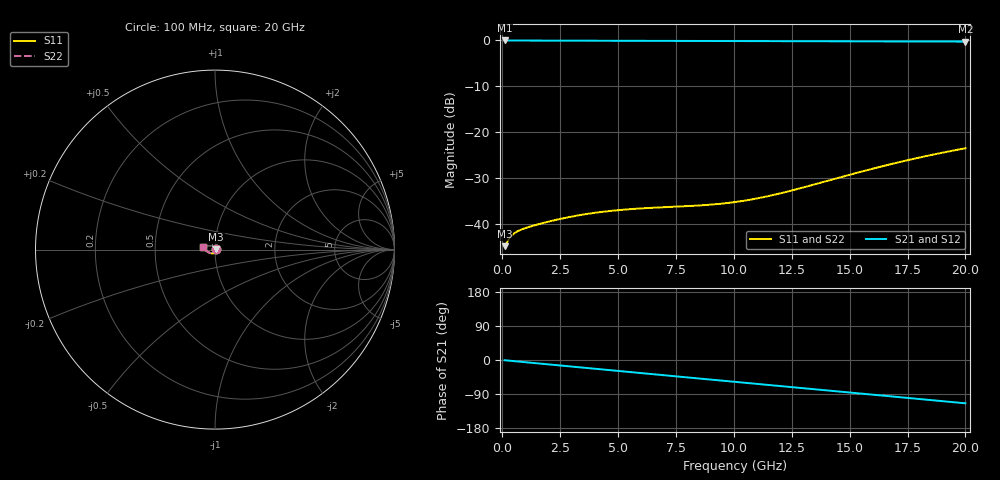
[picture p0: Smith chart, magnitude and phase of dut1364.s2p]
! Touchstone file exported from HFSS 2026.1.0
!  File:  C:/ffzhzh/LocalFiles/Ansys_Project_Files/temp_train_TSV_RDL_1364_1783344131_37376.aedt
!  Generated:  09:33:47 PM Jul  6, 2026
!  Design:  TSV_RDL
!  Project:  temp_train_TSV_RDL_1364_1783344131_37376
! Variables:
!  h_bsmrdl = 3.8um
!  h_ox = 20um
!  h_rdl = 5um
!  h_sub = 98.25um
!  h_tmrdl = 3.06um
!  h_tsv = 98.25um
!  h_via = 3um
!  l_bsmrdl = 155.19um
!  l_sub = 1534.3um
!  l_tmrdl = 129.51um
!  m_sub = 200um
!  pitch = 36.4um
!  r_tsv = 12.69um
!  s_tmrdl = 10um
!  w_bsmrdl = 27.26um
!  w_sub = 500um
!  w_tmrdl = 22.97um
!  x_tsv_center1 = 140.995um
!  x_tsv_center2 = 323.445um
!  x_tsv_center3 = 475.925um
!  x_tsv_center4 = 658.375um
!  x_tsv_center5 = 810.855um
!  x_tsv_center6 = 993.305um
# GHz S MA R 50.000000
! Terminal data exported
! Port[1] = TM_RDL1_1_T1
! Port[2] = TM_RDL5_1_T1
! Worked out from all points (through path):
!   200 points, 100 MHz to 20 GHz, reference 50 ohm
!   highest |S21| = -0.05 dB at 100 MHz (marker M1); lowest = -0.3 dB at 20 GHz (marker M2)
!   group delay of S21, straight-line fit = 15.8 ps
!   lowest |S11| = -44.7 dB at 100 MHz (marker M3), VSWR 1.01, Z = 50.6 + j0.0903 ohm
!   |S11| at or under -10 dB: start of sweep to end of sweep
!   |S22| runs from -44.7 to -23.5 dB; largest |S21 - S12| = 5.5e-14
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0.1  0.005807 8.8  0.9943 -0.6  0.9943 -0.6  0.005807 8.8
! Gamma 0 0 0 0
! Port Impedance 50 0 50 0
0.3  0.007021 16.1  0.9933 -1.8  0.9933 -1.8  0.007021 16.1
0.4  0.007541 16.5  0.9929 -2.4  0.9929 -2.4  0.007541 16.5
0.6  0.008267 16.0  0.9923 -3.6  0.9923 -3.6  0.008267 16.0
0.8  0.008751 15.4  0.9919 -4.7  0.9919 -4.7  0.008751 15.4
1.3  0.009631 14.6  0.9911 -7.6  0.9911 -7.6  0.009631 14.6
2  0.01073 13.2  0.9902 -11.6  0.9902 -11.6  0.01073 13.2
2.7  0.01176 10.5  0.9893 -15.7  0.9893 -15.7  0.01176 10.5
3.5  0.0128 5.9  0.9882 -20.3  0.9882 -20.3  0.01281 5.9
5  0.01428 -6.1  0.9861 -28.9  0.9861 -28.9  0.01429 -6.1
6.8  0.0153 -25.8  0.9837 -39.2  0.9837 -39.2  0.01531 -25.7
7.8  0.01571 -39.2  0.9823 -44.9  0.9823 -44.9  0.01572 -39.2
8.8  0.01625 -54.5  0.981 -50.6  0.981 -50.6  0.01626 -54.4
10.1  0.01756 -76.2  0.9793 -58.0  0.9793 -58.0  0.01758 -76.1
10.8  0.01874 -88.2  0.9785 -61.9  0.9785 -61.9  0.01876 -88.1
11.6  0.02059 -101.6  0.9775 -66.5  0.9775 -66.5  0.0206 -101.5
12.5  0.02336 -115.8  0.9763 -71.6  0.9763 -71.6  0.02337 -115.7
13.4  0.02684 -128.7  0.9752 -76.7  0.9752 -76.7  0.02684 -128.6
15.1  0.03514 -149.7  0.9731 -86.4  0.9731 -86.4  0.03514 -149.7
16.7  0.04461 -166.2  0.971 -95.5  0.971 -95.5  0.0446 -166.2
18.3  0.05519 179.4  0.9687 -104.6  0.9687 -104.6  0.05518 179.5
20  0.0671 165.8  0.9662 -114.3  0.9662 -114.3  0.06709 165.9
